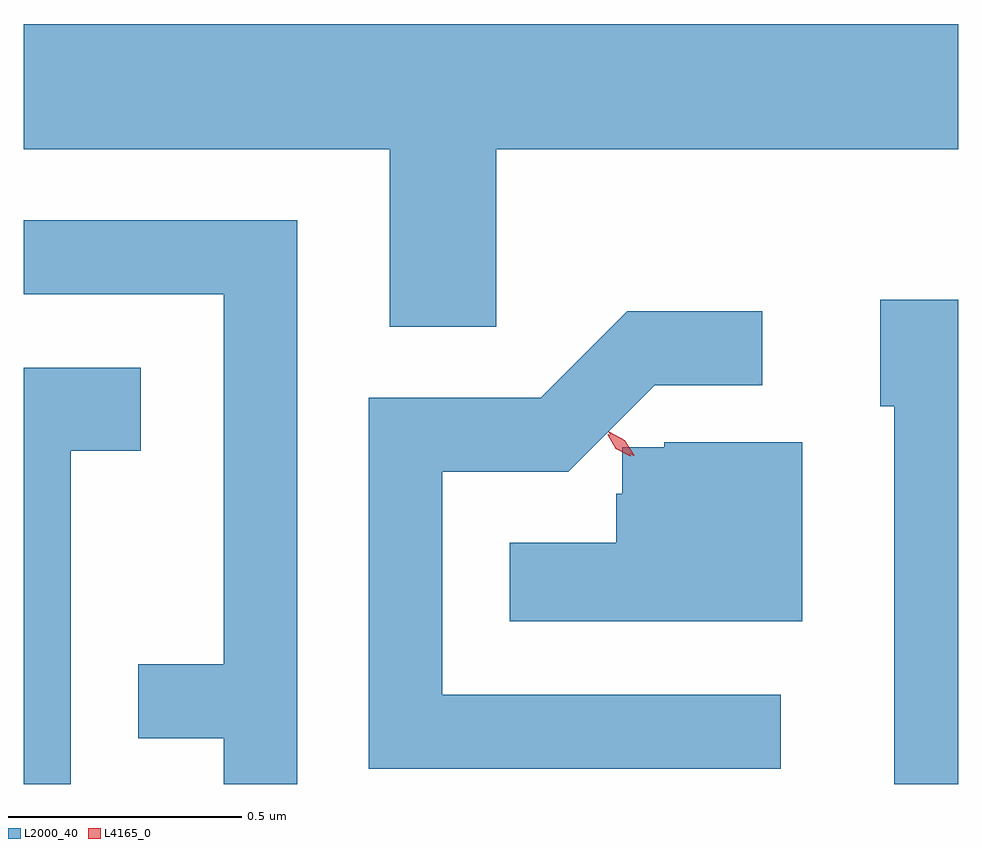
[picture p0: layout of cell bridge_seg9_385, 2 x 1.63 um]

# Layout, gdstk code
import gdstk
lib = gdstk.Library(unit=1e-6, precision=1e-09)
def P(c, l, *ps):  # polygons
    for p in ps: c.add(gdstk.Polygon(p, *l))
L2000_40 = (2000, 40)
L4165_0 = (4165, 0)

bridge_seg9_385 = lib.new_cell('bridge_seg9_385')
P(bridge_seg9_385, L2000_40, [(981.849,1987.376),(982.838,1987.376),(982.838,1987.644),(980.838,1987.644),(980.838,1987.376),(981.621,1987.376),(981.621,1986.996),(981.849,1986.996)],
  [(981.424,1987.224),(980.838,1987.224),(980.838,1987.066),(981.266,1987.066),(981.266,1986.274),(981.083,1986.274),(981.083,1986.116),(981.266,1986.116),(981.266,1986.018),(981.424,1986.018)],
  [(982.838,1987.054),(982.671,1987.054),(982.671,1986.826),(982.701,1986.826),(982.701,1986.018),(982.838,1986.018)],
  [(982.458,1986.209),(981.734,1986.209),(981.734,1986.686),(982.003,1986.686),(982.188,1986.871),(982.418,1986.871),(982.418,1987.029),(982.129,1987.029),(981.944,1986.844),(981.576,1986.844),(981.576,1986.051),(982.458,1986.051)],
  [(980.939,1986.731),(981.089,1986.731),(981.089,1986.909),(980.838,1986.909),(980.838,1986.018),(980.939,1986.018)],
  [(982.504,1986.749),(982.209,1986.749),(982.209,1986.738),(982.119,1986.738),(982.119,1986.639),(982.106,1986.639),(982.106,1986.534),(981.878,1986.534),(981.878,1986.366),(982.504,1986.366)])
P(bridge_seg9_385, L4165_0, [(982.143,1986.72),(982.11,1986.739),(982.09,1986.771),(982.09,1986.772),(982.091,1986.772),(982.124,1986.753),(982.144,1986.721),(982.144,1986.72)],
  [(982.136,1986.719),(982.105,1986.735),(982.088,1986.765),(982.088,1986.766),(982.089,1986.766),(982.12,1986.75),(982.137,1986.72),(982.137,1986.719)])

lib.write_gds('bridge_seg9_385.gds')
